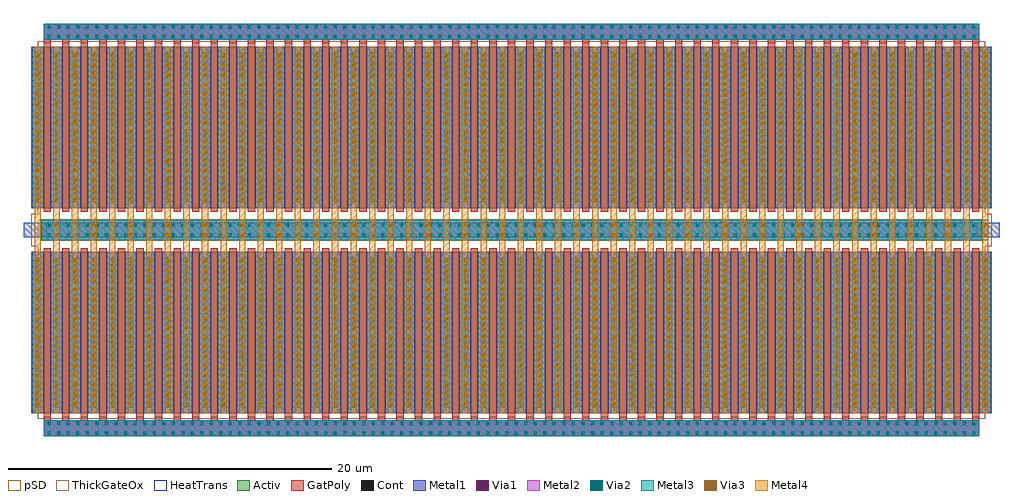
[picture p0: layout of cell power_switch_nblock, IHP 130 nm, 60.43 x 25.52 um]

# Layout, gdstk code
from math import pi, radians
import gdstk
lib = gdstk.Library(unit=1e-6, precision=1e-09)
def R(c, l, rs):  # rectangles x0, y0, x1, y1
    for r in rs: c.add(gdstk.rectangle(r[:2], r[2:], *l))
def A(c, l, x, y, w, h, nx, ny, dx, dy):  # array of equal rectangles
    R(c, l, [(x+i*dx, y+j*dy, x+i*dx+w, y+j*dy+h) for i in range(nx) for j in range(ny)])
Activ = (1, 0)
GatPoly = (5, 0)
Cont = (6, 0)
Metal1 = (8, 0)
Metal2 = (10, 0)
pSD = (14, 0)
Via1 = (19, 0)
Via2 = (29, 0)
Metal3 = (30, 0)
ThickGateOx = (44, 0)
Via3 = (49, 0)
Metal4 = (50, 0)
HeatTrans = (51, 0)

via_array_cda5390a = lib.new_cell('via_array_cda5390a')
R(via_array_cda5390a, Metal2, [(-0.19,-5,0.19,5)])
A(via_array_cda5390a, Via2, -0.095, -4.52, 0.19, 0.19, 1, 16, 0, 0.59)
R(via_array_cda5390a, Metal3, [(-0.19,-4.615,0.19,4.615)])
A(via_array_cda5390a, Via3, -0.095, -4.52, 0.19, 0.19, 1, 16, 0, 0.59)
R(via_array_cda5390a, Metal4, [(-0.19,-5,0.19,5)])

power_switch_nfingers = lib.new_cell('power_switch_nfingers')
R(power_switch_nfingers, Activ, [(-29.745,-5.255,29.745,4.745)])
A(power_switch_nfingers, GatPoly, -28.975, -5.695, 0.45, 0.21, 51, 1, 1.15, 0)
A(power_switch_nfingers, GatPoly, -28.975, -5.485, 0.45, 10.46, 51, 1, 1.15, 0)
R(power_switch_nfingers, GatPoly, [(-28.975,-6.665,28.975,-5.695)])
A(power_switch_nfingers, Cont, -28.695, -6.555, 0.16, 0.16, 98, 2, 0.59, 0.59)
A(power_switch_nfingers, Cont, -29.405, -4.835, 0.16, 0.16, 52, 26, 1.15, 0.36)
A(power_switch_nfingers, Metal1, -29.675, -5.255, 0.7, 10, 52, 1, 1.15, 0)
R(power_switch_nfingers, Metal1, [(-28.975,-6.665,28.975,-5.695)])
A(power_switch_nfingers, Metal2, -29.515, -5.255, 0.38, 10, 52, 1, 1.15, 0)
R(power_switch_nfingers, Metal2, [(-28.975,-6.665,28.975,-5.695)])
A(power_switch_nfingers, Via1, -28.71, -6.57, 0.19, 0.19, 98, 2, 0.59, 0.59)
A(power_switch_nfingers, Via1, -29.42, -4.91, 0.19, 0.19, 52, 20, 1.15, 0.48)
A(power_switch_nfingers, Via2, -28.71, -6.57, 0.19, 0.19, 98, 2, 0.59, 0.59)
R(power_switch_nfingers, Metal3, [(-28.975,-6.665,28.975,-5.695)])
R(power_switch_nfingers, ThickGateOx, [(-29.325,-5.605,29.325,5.095)])
A(power_switch_nfingers, HeatTrans, -28.975, -5.485, 0.45, 10.46, 51, 1, 1.15, 0)
R(power_switch_nfingers, HeatTrans, [(-28.975,-6.665,28.975,-5.695)])
power_switch_nfingers.add(gdstk.Reference(via_array_cda5390a, (-28.175,-0.255)))
power_switch_nfingers.add(gdstk.Reference(via_array_cda5390a, (29.325,-0.255)))
power_switch_nfingers.add(gdstk.Reference(via_array_cda5390a, (28.175,-0.255)))
power_switch_nfingers.add(gdstk.Reference(via_array_cda5390a, (27.025,-0.255)))
power_switch_nfingers.add(gdstk.Reference(via_array_cda5390a, (25.875,-0.255)))
power_switch_nfingers.add(gdstk.Reference(via_array_cda5390a, (24.725,-0.255)))
power_switch_nfingers.add(gdstk.Reference(via_array_cda5390a, (23.575,-0.255)))
power_switch_nfingers.add(gdstk.Reference(via_array_cda5390a, (22.425,-0.255)))
power_switch_nfingers.add(gdstk.Reference(via_array_cda5390a, (21.275,-0.255)))
power_switch_nfingers.add(gdstk.Reference(via_array_cda5390a, (20.125,-0.255)))
power_switch_nfingers.add(gdstk.Reference(via_array_cda5390a, (18.975,-0.255)))
power_switch_nfingers.add(gdstk.Reference(via_array_cda5390a, (17.825,-0.255)))
power_switch_nfingers.add(gdstk.Reference(via_array_cda5390a, (16.675,-0.255)))
power_switch_nfingers.add(gdstk.Reference(via_array_cda5390a, (15.525,-0.255)))
power_switch_nfingers.add(gdstk.Reference(via_array_cda5390a, (14.375,-0.255)))
power_switch_nfingers.add(gdstk.Reference(via_array_cda5390a, (13.225,-0.255)))
power_switch_nfingers.add(gdstk.Reference(via_array_cda5390a, (12.075,-0.255)))
power_switch_nfingers.add(gdstk.Reference(via_array_cda5390a, (10.925,-0.255)))
power_switch_nfingers.add(gdstk.Reference(via_array_cda5390a, (9.775,-0.255)))
power_switch_nfingers.add(gdstk.Reference(via_array_cda5390a, (8.625,-0.255)))
power_switch_nfingers.add(gdstk.Reference(via_array_cda5390a, (7.475,-0.255)))
power_switch_nfingers.add(gdstk.Reference(via_array_cda5390a, (6.325,-0.255)))
power_switch_nfingers.add(gdstk.Reference(via_array_cda5390a, (5.175,-0.255)))
power_switch_nfingers.add(gdstk.Reference(via_array_cda5390a, (4.025,-0.255)))
power_switch_nfingers.add(gdstk.Reference(via_array_cda5390a, (2.875,-0.255)))
power_switch_nfingers.add(gdstk.Reference(via_array_cda5390a, (1.725,-0.255)))
power_switch_nfingers.add(gdstk.Reference(via_array_cda5390a, (0.575,-0.255)))
power_switch_nfingers.add(gdstk.Reference(via_array_cda5390a, (-0.575,-0.255)))
power_switch_nfingers.add(gdstk.Reference(via_array_cda5390a, (-1.725,-0.255)))
power_switch_nfingers.add(gdstk.Reference(via_array_cda5390a, (-2.875,-0.255)))
power_switch_nfingers.add(gdstk.Reference(via_array_cda5390a, (-4.025,-0.255)))
power_switch_nfingers.add(gdstk.Reference(via_array_cda5390a, (-5.175,-0.255)))
power_switch_nfingers.add(gdstk.Reference(via_array_cda5390a, (-6.325,-0.255)))
power_switch_nfingers.add(gdstk.Reference(via_array_cda5390a, (-7.475,-0.255)))
power_switch_nfingers.add(gdstk.Reference(via_array_cda5390a, (-8.625,-0.255)))
power_switch_nfingers.add(gdstk.Reference(via_array_cda5390a, (-9.775,-0.255)))
power_switch_nfingers.add(gdstk.Reference(via_array_cda5390a, (-10.925,-0.255)))
power_switch_nfingers.add(gdstk.Reference(via_array_cda5390a, (-12.075,-0.255)))
power_switch_nfingers.add(gdstk.Reference(via_array_cda5390a, (-13.225,-0.255)))
power_switch_nfingers.add(gdstk.Reference(via_array_cda5390a, (-14.375,-0.255)))
power_switch_nfingers.add(gdstk.Reference(via_array_cda5390a, (-15.525,-0.255)))
power_switch_nfingers.add(gdstk.Reference(via_array_cda5390a, (-16.675,-0.255)))
power_switch_nfingers.add(gdstk.Reference(via_array_cda5390a, (-17.825,-0.255)))
power_switch_nfingers.add(gdstk.Reference(via_array_cda5390a, (-18.975,-0.255)))
power_switch_nfingers.add(gdstk.Reference(via_array_cda5390a, (-20.125,-0.255)))
power_switch_nfingers.add(gdstk.Reference(via_array_cda5390a, (-21.275,-0.255)))
power_switch_nfingers.add(gdstk.Reference(via_array_cda5390a, (-22.425,-0.255)))
power_switch_nfingers.add(gdstk.Reference(via_array_cda5390a, (-23.575,-0.255)))
power_switch_nfingers.add(gdstk.Reference(via_array_cda5390a, (-24.725,-0.255)))
power_switch_nfingers.add(gdstk.Reference(via_array_cda5390a, (-25.875,-0.255)))
power_switch_nfingers.add(gdstk.Reference(via_array_cda5390a, (-27.025,-0.255)))
power_switch_nfingers.add(gdstk.Reference(via_array_cda5390a, (-29.325,-0.255)))

unnamed_45933b9e = lib.new_cell('Unnamed_45933b9e')
A(unnamed_45933b9e, Activ, -28.79, -0.47, 0.35, 0.35, 98, 2, 0.59, 0.59)
R(unnamed_45933b9e, Activ, [(-29.125,-0.65,29.125,0.65), (-29.125,-0.65,29.125,0.65)])
A(unnamed_45933b9e, Cont, -28.695, -0.375, 0.16, 0.16, 98, 2, 0.59, 0.59)
A(unnamed_45933b9e, Metal1, -28.765, -0.445, 0.3, 0.3, 98, 2, 0.59, 0.59)
R(unnamed_45933b9e, Metal1, [(-30.215,-0.445,30.215,0.445)])
A(unnamed_45933b9e, Metal2, -28.805, -0.485, 0.38, 0.38, 98, 2, 0.59, 0.59)
R(unnamed_45933b9e, Metal2, [(-28.805,-0.485,28.805,0.485)])
R(unnamed_45933b9e, pSD, [(-29.155,-0.68,29.155,0.68)])
A(unnamed_45933b9e, Via1, -28.71, -0.39, 0.19, 0.19, 98, 2, 0.59, 0.59)
A(unnamed_45933b9e, Via2, -28.71, -0.39, 0.19, 0.19, 98, 2, 0.59, 0.59)
A(unnamed_45933b9e, Metal3, -28.805, -0.485, 0.38, 0.38, 98, 2, 0.59, 0.59)
R(unnamed_45933b9e, Metal3, [(-29.125,-0.65,29.125,0.65)])
R(unnamed_45933b9e, ThickGateOx, [(-29.745,-1,29.745,1)])

via_m3m4_1x2 = lib.new_cell('via_m3m4_1x2')
R(via_m3m4_1x2, Via3, [(-28.27,-0.39,-28.08,-0.2), (-28.27,0.2,-28.08,0.39)])
R(via_m3m4_1x2, Metal4, [(-29.515,-1.35,-29.135,1.35), (-28.365,-1.35,-27.985,1.35)])

power_switch_nblock = lib.new_cell('power_switch_nblock')
R(power_switch_nblock, Metal3, [(29.125,-0.65,29.515,0.65)])
power_switch_nblock.add(gdstk.Reference(power_switch_nfingers, (0,6.095), rotation=pi))
power_switch_nblock.add(gdstk.Reference(power_switch_nfingers, (0,-6.095)))
power_switch_nblock.add(gdstk.Reference(unnamed_45933b9e, (0,0)))
r = gdstk.Reference(via_m3m4_1x2, (0,0)); r.repetition = gdstk.Repetition(26, 1, v1=(2.3,0), v2=(0,0)); power_switch_nblock.add(r)

lib.write_gds('power_switch_nblock.gds')
